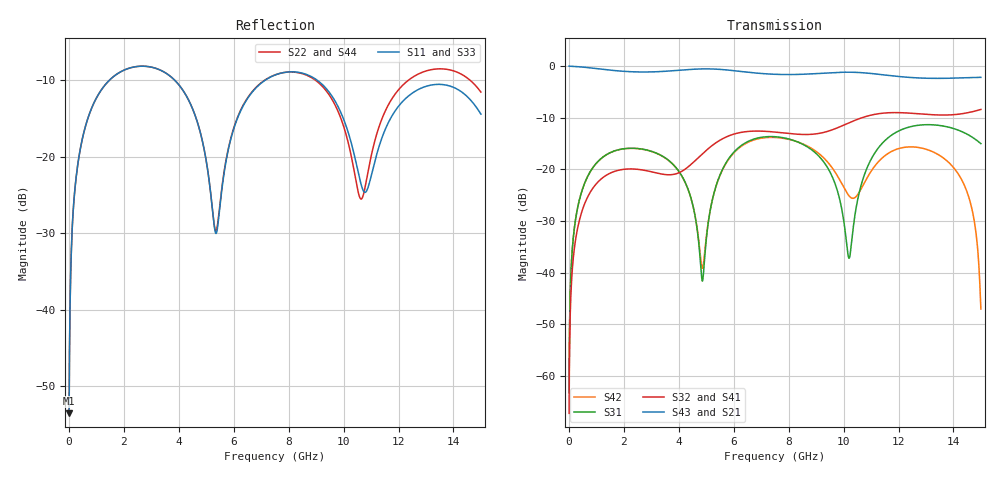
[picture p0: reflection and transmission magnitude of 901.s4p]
! Created with skrf 1.8.0 (http://scikit-rf.org).
# GHz S RI R 50.0
!freq ReS11 ImS11 ReS12 ImS12 ReS13 ImS13
! ReS14 ImS14
! ReS21 ImS21 ReS22 ImS22 ReS23 ImS23
! ReS24 ImS24
! ReS31 ImS31 ReS32 ImS32 ReS33 ImS33
! ReS34 ImS34
! ReS41 ImS41 ReS42 ImS42 ReS43 ImS43
! ReS44 ImS44
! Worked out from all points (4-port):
!   2499 points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, 5 MHz to 15 GHz, reference 50 ohm
!   strongest paths, dB at 5 MHz, 3.476 GHz, 7.19 GHz, 11.1 GHz, 15 GHz:
!     S43: 0.0, -1.0, -1.5, -1.5, -2.2
!     S21: 0.0, -1.0, -1.5, -1.5, -2.2
!     S32: -67.2, -21.0, -12.6, -9.4, -8.4
!     S41: -67.2, -21.0, -12.7, -9.4, -8.4
!     S31: -63.2, -17.7, -13.7, -17.1, -15.0
!     S42: -63.2, -17.7, -13.8, -19.6, -47.0
!   lowest |S11| = -53.5 dB at 5 MHz (marker M1), VSWR 1.00, Z = 50.2 + j0.128 ohm
!   |S11| at or under -10 dB: start of sweep to 1.465 GHz; 3.857 GHz to 7.134 GHz (3.277 GHz wide, 59.6 % of centre); 9.048 GHz to end of sweep
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0.005  0.00168 0.00127  0.9983 -0.00326  8.5e-05 0.000686  -8.25e-05 -0.000427
       0.9983 -0.00326  0.00168 0.00127  -8.25e-05 -0.000427  8.5e-05 0.000686
       8.5e-05 0.000686  -8.25e-05 -0.000427  0.00168 0.00127  0.9983 -0.00326
       -8.25e-05 -0.000427  8.5e-05 0.000686  0.9983 -0.00326  0.00168 0.00127
0.4126719  0.0384 0.106  0.9464 -0.2629  0.0194 0.0513  -0.0159 -0.0309
           0.9464 -0.2629  0.0385 0.106  -0.0159 -0.0309  0.0192 0.0513
           0.0194 0.0513  -0.0159 -0.0309  0.0384 0.106  0.9464 -0.2629
           -0.0159 -0.0309  0.0192 0.0513  0.9464 -0.2629  0.0385 0.106
1.975823  0.3456 0.1238  0.3465 -0.8206  0.1554 0.0295  -0.0958 0.028
          0.3465 -0.8206  0.346 0.1233  -0.0959 0.0282  0.1546 0.0313
          0.1554 0.0295  -0.0959 0.0282  0.3454 0.1239  0.3466 -0.8207
          -0.0958 0.028  0.1546 0.0313  0.3466 -0.8207  0.3459 0.1232
4.858274  0.0621 -0.1108  -0.8734 -0.345  -0.00817 -0.00136  -0.0488 0.1328
          -0.8734 -0.345  0.0624 -0.1103  -0.0471 0.1334  -0.0108 -0.00199
          -0.00817 -0.00136  -0.0471 0.1334  0.0627 -0.1093  -0.8736 -0.3449
          -0.0488 0.1328  -0.0108 -0.00199  -0.8736 -0.3449  0.0609 -0.1096
8.30346  0.356 -0.0388  -0.00256 0.8297  0.167 -0.0807  0.2063 -0.0705
         -0.00256 0.8297  0.3535 -0.045  0.2061 -0.0744  0.1634 -0.0878
         0.167 -0.0807  0.2061 -0.0744  0.3543 -0.0383  -0.00368 0.8302
         0.2063 -0.0705  0.1634 -0.0878  -0.00368 0.8302  0.3531 -0.0442
10.198  0.0899 -0.1059  0.7718 0.4068  0.0137 -0.00138  0.1262 -0.2523
        0.7718 0.4068  0.0776 -0.0886  0.1203 -0.2554  -0.0488 -0.0264
        0.0137 -0.00138  0.1203 -0.2554  0.0897 -0.1014  0.7719 0.4078
        0.1262 -0.2523  -0.0488 -0.0264  0.7719 0.4078  0.0739 -0.0857
15  0.1781 -0.0673  -0.4726 -0.6204  -0.0715 -0.1624  -0.3003 0.2317
    -0.4726 -0.6204  0.2049 -0.1683  -0.292 0.2435  0.00439 0.000724
    -0.0715 -0.1624  -0.292 0.2435  0.1887 -0.0658  -0.4643 -0.6242
    -0.3003 0.2317  0.00439 0.000724  -0.4643 -0.6242  0.2116 -0.1729
